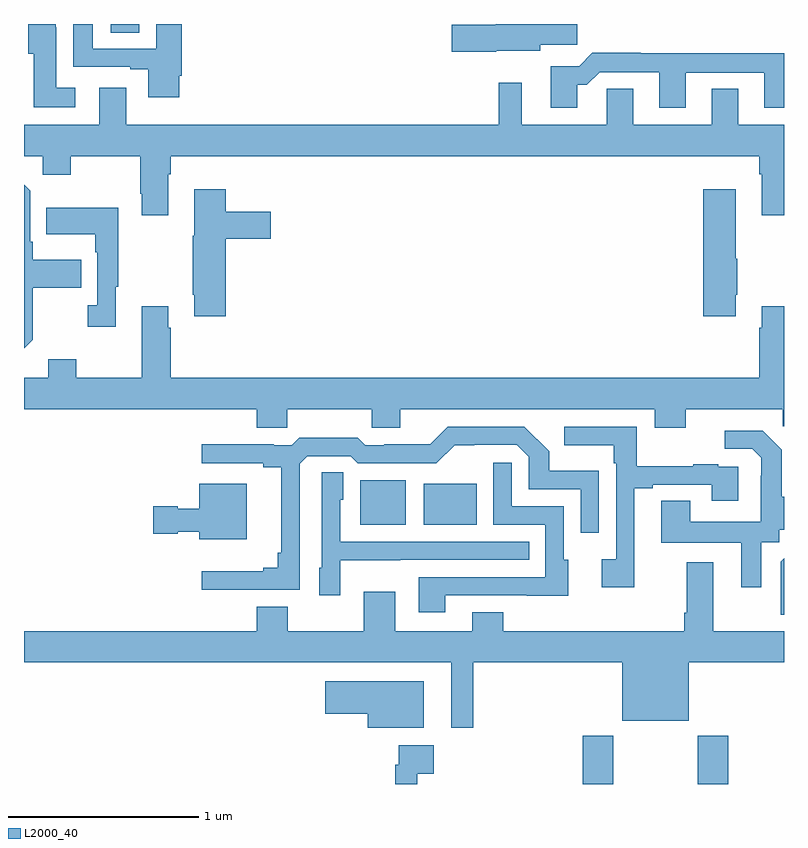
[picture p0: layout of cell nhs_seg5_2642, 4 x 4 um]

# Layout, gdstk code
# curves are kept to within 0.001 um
import gdstk
lib = gdstk.Library(unit=1e-6, precision=1e-09)
def R(c, l, rs):  # rectangles x0, y0, x1, y1
    for r in rs: c.add(gdstk.rectangle(r[:2], r[2:], *l))
def P(c, l, *ps):  # polygons
    for p in ps: c.add(gdstk.Polygon(p, *l))
L2000_40 = (2000, 40)

nhs_seg5_2642 = lib.new_cell('nhs_seg5_2642')
R(nhs_seg5_2642, L2000_40, [(267.941,842.799,268.101,843.052), (268.546,842.799,268.706,843.052), (266.771,844.163,267.01,844.399), (267.104,844.163,267.382,844.378), (265.457,846.754,265.606,846.799)])
P(nhs_seg5_2642, L2000_40, [(265.816,846.526),(265.829,846.526),(265.829,846.799),(265.697,846.799),(265.697,846.669),(265.363,846.669),(265.363,846.799),(265.259,846.799),(265.259,846.573),(265.559,846.573),(265.559,846.561),(265.655,846.561),(265.655,846.414),(265.816,846.414)],
  [(265.27,846.463),(265.171,846.463),(265.171,846.782),(265.167,846.782),(265.167,846.799),(265.022,846.799),(265.022,846.642),(265.052,846.642),(265.052,846.362),(265.27,846.362)],
  [(267.486,846.659),(267.718,846.659),(267.718,846.691),(267.913,846.691),(267.913,846.799),(267.482,846.799),(267.482,846.794),(267.252,846.794),(267.252,846.652),(267.486,846.652)],
  [(267.913,846.479),(267.962,846.479),(268.029,846.546),(268.343,846.546),(268.343,846.357),(268.483,846.357),(268.483,846.543),(268.895,846.543),(268.895,846.357),(269,846.357),(269,846.644),(268.247,846.644),(268.247,846.647),(267.992,846.647),(267.922,846.577),(267.773,846.577),(267.773,846.357),(267.913,846.357)],
  [(265.759,846.008),(265.772,846.008),(265.772,846.104),(268.871,846.104),(268.871,846.008),(268.883,846.008),(268.883,845.793),(269,845.793),(269,846.268),(268.759,846.268),(268.759,846.458),(268.619,846.458),(268.619,846.268),(268.207,846.268),(268.207,846.458),(268.068,846.458),(268.068,846.268),(267.619,846.268),(267.619,846.49),(267.498,846.49),(267.498,846.268),(265.537,846.268),(265.537,846.463),(265.397,846.463),(265.397,846.268),(265,846.268),(265,846.104),(265.098,846.104),(265.098,846.005),(265.245,846.005),(265.245,846.104),(265.612,846.104),(265.612,845.905),(265.619,845.905),(265.619,845.793),(265.759,845.793)],
  [(265.045,845.137),(265.045,845.41),(265.301,845.41),(265.301,845.557),(265.045,845.557),(265.045,845.653),(265.032,845.653),(265.032,845.922),(265,845.954),(265,845.092)],
  [(266.063,845.669),(266.299,845.669),(266.299,845.811),(266.063,845.811),(266.063,845.929),(265.895,845.929),(265.895,845.685),(265.888,845.685),(265.888,845.374),(265.895,845.374),(265.895,845.262),(266.063,845.262)],
  [(268.747,845.374),(268.755,845.374),(268.755,845.563),(268.747,845.563),(268.747,845.929),(268.574,845.929),(268.574,845.262),(268.747,845.262)],
  [(265.483,845.417),(265.495,845.417),(265.495,845.833),(265.117,845.833),(265.117,845.693),(265.374,845.693),(265.374,845.597),(265.386,845.597),(265.386,845.318),(265.335,845.318),(265.335,845.205),(265.483,845.205)],
  [(268.483,844.772),(268.993,844.772),(268.993,844.682),(269,844.682),(269,845.314),(268.883,845.314),(268.883,845.201),(268.871,845.201),(268.871,844.936),(265.772,844.936),(265.772,845.201),(265.759,845.201),(265.759,845.314),(265.619,845.314),(265.619,844.936),(265.275,844.936),(265.275,845.035),(265.127,845.035),(265.127,844.936),(265,844.936),(265,844.772),(266.225,844.772),(266.225,844.674),(266.385,844.674),(266.385,844.772),(266.83,844.772),(266.83,844.674),(266.98,844.674),(266.98,844.772),(268.319,844.772),(268.319,844.673),(268.483,844.673)],
  [(268.213,844.356),(268.309,844.356),(268.309,844.374),(268.619,844.374),(268.619,844.29),(268.759,844.29),(268.759,844.47),(268.655,844.47),(268.655,844.483),(268.523,844.483),(268.523,844.472),(268.225,844.472),(268.225,844.68),(267.843,844.68),(267.843,844.583),(268.104,844.583),(268.104,844.487),(268.116,844.487),(268.116,843.982),(268.041,843.982),(268.041,843.834),(268.213,843.834)],
  [(266.451,844.485),(266.49,844.524),(266.721,844.524),(266.757,844.488),(267.171,844.488),(267.266,844.583),(267.594,844.584),(267.657,844.521),(267.657,844.35),(267.93,844.35),(267.93,844.122),(268.026,844.122),(268.026,844.447),(267.765,844.447),(267.765,844.55),(267.634,844.68),(267.231,844.68),(267.137,844.586),(266.896,844.586),(266.896,844.581),(266.796,844.581),(266.757,844.621),(266.449,844.621),(266.409,844.581),(266.315,844.581),(266.315,844.586),(265.935,844.586),(265.935,844.488),(266.258,844.488),(266.258,844.466),(266.354,844.466),(266.354,844.015),(266.335,844.015),(266.335,843.938),(266.258,843.938),(266.258,843.919),(265.935,843.919),(265.935,843.822),(266.451,843.822)],
  [(268.879,844.072),(268.974,844.072),(268.974,844.136),(269,844.136),(269,844.312),(268.989,844.312),(268.989,844.557),(268.889,844.657),(268.689,844.657),(268.689,844.563),(268.833,844.563),(268.88,844.516),(268.88,844.421),(268.878,844.421),(268.878,844.18),(268.507,844.18),(268.507,844.289),(268.355,844.289),(268.355,844.07),(268.775,844.07),(268.775,843.834),(268.879,843.834)],
  [(267.217,843.792),(267.647,843.792),(267.647,843.791),(267.865,843.791),(267.865,843.978),(267.84,843.978),(267.84,844.26),(267.567,844.26),(267.567,844.489),(267.471,844.489),(267.471,844.164),(267.744,844.164),(267.744,843.888),(267.077,843.888),(267.077,843.702),(267.217,843.702)],
  [(266.664,843.977),(266.981,843.977),(266.981,843.978),(267.659,843.978),(267.659,844.074),(266.664,844.074),(266.664,844.296),(266.68,844.296),(266.68,844.439),(266.568,844.439),(266.568,843.936),(266.555,843.936),(266.555,843.792),(266.664,843.792)],
  [(266.173,844.378),(265.922,844.378),(265.922,844.249),(265.809,844.249),(265.809,844.262),(265.68,844.262),(265.68,844.115),(265.809,844.115),(265.809,844.127),(265.922,844.127),(265.922,844.088),(266.173,844.088)],
  [(269,843.986),(268.983,843.969),(268.983,843.689),(269,843.689)],
  [(267.365,843.44),(268.148,843.44),(268.148,843.131),(268.498,843.131),(268.498,843.44),(269,843.44),(269,843.604),(268.627,843.604),(268.627,843.967),(268.487,843.967),(268.487,843.7),(268.475,843.7),(268.475,843.604),(267.523,843.604),(267.523,843.703),(267.359,843.703),(267.359,843.604),(266.953,843.604),(266.953,843.811),(266.789,843.811),(266.789,843.604),(266.389,843.604),(266.389,843.733),(266.225,843.733),(266.225,843.604),(265,843.604),(265,843.44),(267.248,843.44),(267.248,843.096),(267.365,843.096)],
  [(267.103,843.34),(266.586,843.34),(266.586,843.17),(266.81,843.17),(266.81,843.095),(267.103,843.095)],
  [(267.071,842.852),(267.157,842.852),(267.157,843.004),(266.973,843.004),(266.973,842.9),(266.953,842.9),(266.953,842.799),(267.071,842.799)])

lib.write_gds('nhs_seg5_2642.gds')
